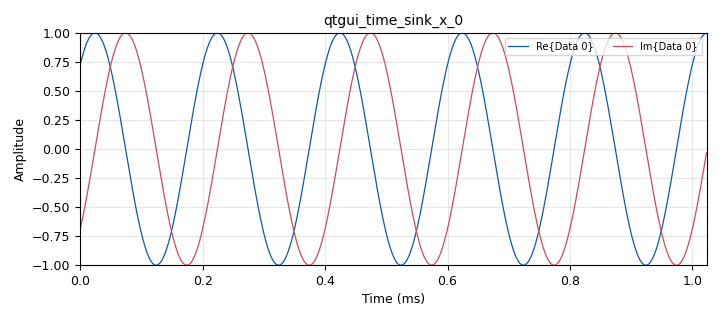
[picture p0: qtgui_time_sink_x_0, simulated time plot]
options:
  parameters:
    generate_options: qt_gui
    id: test_tag
    output_language: python
    title: Not titled yet
  states: {}

blocks:
- name: samp_rate
  id: variable
  parameters:
    value: 1e6
  states: {}
- name: analog_sig_source_x_0
  id: analog_sig_source_x
  parameters:
    amp: '1'
    freq: 5e3
    offset: '0'
    phase: '0'
    samp_rate: samp_rate
    type: complex
    waveform: analog.GR_COS_WAVE
  states: {}
- name: blocks_stream_to_tagged_stream_0
  id: blocks_stream_to_tagged_stream
  parameters:
    len_tag_key: '"packet_len"'
    packet_len: int(1024)
    type: complex
  states: {}
- name: qtgui_time_sink_x_0
  id: qtgui_time_sink_x
  parameters:
    size: '1024'
    srate: samp_rate
    type: complex
  states: {}

connections:
- [analog_sig_source_x_0, '0', blocks_stream_to_tagged_stream_0, '0']
- [blocks_stream_to_tagged_stream_0, '0', qtgui_time_sink_x_0, '0']

metadata:
  file_format: 1
  grc_version: 3.10.7.0
